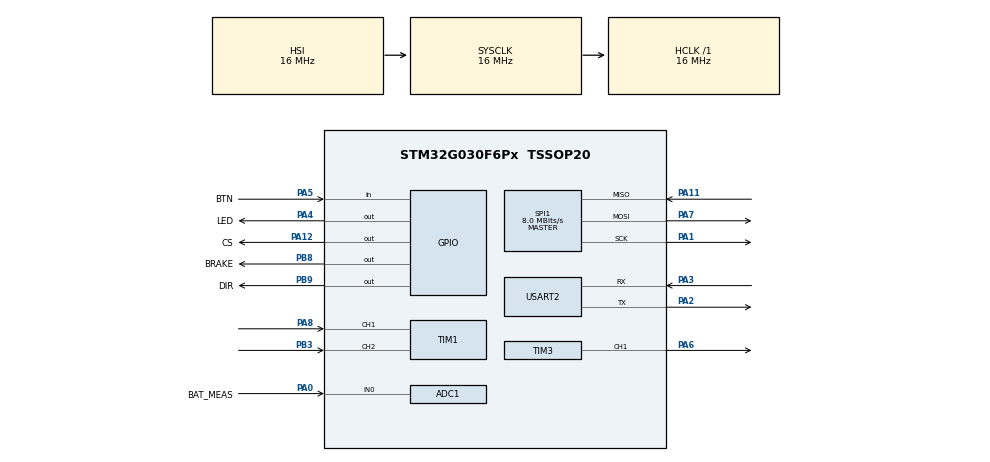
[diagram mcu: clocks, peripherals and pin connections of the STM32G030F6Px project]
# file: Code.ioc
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ADC1.Channel-1\#ChannelRegularConversion=ADC_CHANNEL_0
ADC1.DiscontinuousConvMode=ENABLE
ADC1.NbrOfConversionFlag=1
ADC1.Rank-1\#ChannelRegularConversion=1
ADC1.SamplingTime-1\#ChannelRegularConversion=ADC_SAMPLINGTIME_COMMON_1
ADC1.SelectedChannel=ADC_CHANNEL_0
ADC1.master=1
Mcu.Family=STM32G0
Mcu.Name=STM32G030F6Px
Mcu.Package=TSSOP20
PA0.GPIO_Label=BAT_MEAS
PA0.Mode=IN0
PA0.Signal=ADC1_IN0
PA1.Mode=Full_Duplex_Master
PA1.Signal=SPI1_SCK
PA11\ [PA9].Mode=Full_Duplex_Master
PA11\ [PA9].Signal=SPI1_MISO
PA12\ [PA10].GPIO_Label=CS
PA12\ [PA10].Signal=GPIO_Output
PA13.Mode=Serial_Wire
PA13.Signal=SYS_SWDIO
PA14-BOOT0.Mode=Serial_Wire
PA14-BOOT0.Signal=SYS_SWCLK
PA2.Mode=Asynchronous
PA2.Signal=USART2_TX
PA3.Mode=Asynchronous
PA3.Signal=USART2_RX
PA4.GPIO_Label=LED
PA4.Signal=GPIO_Output
PA5.GPIO_Label=BTN
PA5.Signal=GPIO_Input
PA6.Signal=S_TIM3_CH1
PA7.Mode=Full_Duplex_Master
PA7.Signal=SPI1_MOSI
PA8.Signal=S_TIM1_CH1
PB3.Signal=S_TIM1_CH2
PB8.GPIO_Label=BRAKE
PB8.Signal=GPIO_Output
PB9.GPIO_Label=DIR
PB9.Signal=GPIO_Output
ProjectManager.HeapSize=0x200
ProjectManager.StackSize=0x400
ProjectManager.TargetToolchain=STM32CubeIDE
RCC.AHBFreq_Value=16000000
RCC.CortexFreq_Value=16000000
RCC.EXTERNAL_CLOCK_VALUE=12288000
RCC.HCLKFreq_Value=16000000
RCC.HSE_VALUE=8000000
RCC.HSI_VALUE=16000000
RCC.LSE_VALUE=32768
RCC.SYSCLKFreq_VALUE=16000000
RCC.VCOOutputFreq_Value=128000000
SH.S_TIM1_CH1.0=TIM1_CH1,Encoder_Interface
SH.S_TIM1_CH2.0=TIM1_CH2,Encoder_Interface
SH.S_TIM3_CH1.0=TIM3_CH1,PWM Generation1 CH1
SPI1.BaudRatePrescaler=SPI_BAUDRATEPRESCALER_2
SPI1.CalculateBaudRate=8.0 MBits/s
SPI1.Direction=SPI_DIRECTION_2LINES
SPI1.Mode=SPI_MODE_MASTER
SPI1.VirtualType=VM_MASTER
TIM3.Channel-PWM\ Generation1\ CH1=TIM_CHANNEL_1
TIM3.Period=100-1
TIM3.Prescaler=8-1
USART2.VirtualMode-Asynchronous=VM_ASYNC
board=custom

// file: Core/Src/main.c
/* USER CODE BEGIN Header */
/**
  ******************************************************************************
  * @file           : main.c
  * @brief          : Main program body
  ******************************************************************************
  * @attention
  *
  * Copyright (c) 2022 STMicroelectronics.
  * All rights reserved.
  *
  * This software is licensed under terms that can be found in the LICENSE file
  * in the root directory of this software component.
  * If no LICENSE file comes with this software, it is provided AS-IS.
  *
  ******************************************************************************
  */
/* USER CODE END Header */
#include "main.h"

/* USER CODE BEGIN Includes */
#include <stdio.h>
#include "fixmath.h"
//#include <math.h>
/* USER CODE END Includes */

ADC_HandleTypeDef hadc1;

SPI_HandleTypeDef hspi1;

TIM_HandleTypeDef htim1;
TIM_HandleTypeDef htim3;

UART_HandleTypeDef huart2;

void SystemClock_Config(void);
static void MX_GPIO_Init(void);
static void MX_TIM1_Init(void);
static void MX_TIM3_Init(void);
static void MX_USART2_UART_Init(void);
static void MX_ADC1_Init(void);
static void MX_SPI1_Init(void);

/* USER CODE BEGIN 0 */
int _write(int file, char *ptr, int len)
{
	HAL_UART_Transmit(&huart2, (uint8_t*)ptr, len, HAL_MAX_DELAY);
	return len;
}

void resetICM()
{
	uint8_t tx[2] = {W | DEVICE_CONFIG, 0x01};
	HAL_GPIO_WritePin (CS_GPIO_Port, CS_Pin, GPIO_PIN_RESET);
	HAL_SPI_Transmit(&hspi1, tx, 2, 1000);
	HAL_GPIO_WritePin (CS_GPIO_Port, CS_Pin, GPIO_PIN_SET);
	HAL_Delay(1);
}

void spiSet(uint8_t addr, uint8_t val)
{
	uint8_t tx[2] = {0};
	tx[0] = W | addr;
	tx[1] = val;
	HAL_GPIO_WritePin (CS_GPIO_Port, CS_Pin, GPIO_PIN_RESET);
	HAL_SPI_Transmit(&hspi1, tx, 2, SPI_WAIT);
	HAL_GPIO_WritePin (CS_GPIO_Port, CS_Pin, GPIO_PIN_SET);
}

void spiGet(uint8_t addr, uint8_t* rx, uint8_t num)
{
	uint8_t tx = R | addr;
	HAL_GPIO_WritePin (CS_GPIO_Port, CS_Pin, GPIO_PIN_RESET);
	HAL_SPI_Transmit(&hspi1, &tx, 1, SPI_WAIT);
	HAL_SPI_Receive(&hspi1, rx, num, SPI_WAIT);
	HAL_GPIO_WritePin (CS_GPIO_Port, CS_Pin, GPIO_PIN_SET);
}

void printf16(fix16_t num, int decimals){
	decimals = decimals > 5 ? 5 : decimals;
	char str[14] = {'0'};
	fix16_to_str(num, str, decimals);
	printf("%s", str);
}

void pn(){
	printf("\r\n");
}

void ps(){
	printf(" ");
}

void pc(){
	printf(", ");
}

void brakeOn() {
	HAL_GPIO_WritePin(BRAKE_GPIO_Port, BRAKE_Pin, GPIO_PIN_RESET);
	return;
}

void brakeOff() {
	HAL_GPIO_WritePin(BRAKE_GPIO_Port, BRAKE_Pin, GPIO_PIN_SET);
	return;
}

void waitUntilStop(){
	TIM3->CCR1 = 100;
	brakeOn();
	int val1 = 0;
	int val2 = 1;
	while (val1 != val2){
		val1 = TIM1->CNT;
		HAL_Delay (10);
		val2 = TIM1->CNT;
	}
	brakeOff();
}

fix16_t getBatteryVoltage() {
	HAL_ADC_Start(&hadc1);
	uint32_t raw;
	fix16_t voltage;
	HAL_ADC_PollForConversion(&hadc1, 1000);
	raw = HAL_ADC_GetValue(&hadc1);
	voltage = fix16_mul(fix16_from_int(raw), fix16_from_float(3.3/4095*0.9647)); // Vdd / 2^16 * fudgeFactor
	voltage = fix16_mul(voltage, fix16_from_float(11.07)); // resistor ratio
	voltage = fix16_sub(voltage, fix16_from_float(0.1)); // more fudge factor
	HAL_ADC_Stop(&hadc1);
	return voltage;
}

fix16_t rad2deg(fix16_t num){
	num = fix16_mul(num, fix16_from_int(180));
	num = fix16_div(num, fix16_pi);
	return num;
}

//returns 1 if the number is negative, 0 if positive or 0
int32_t sign(int32_t num){
	return (num < 0);
}
/* USER CODE END 0 */

int main(void)
{

  /* MCU Configuration--------------------------------------------------------*/

  /* Reset of all peripherals, Initializes the Flash interface and the Systick. */
  HAL_Init();

  /* Configure the system clock */
  SystemClock_Config();

  /* Initialize all configured peripherals */
  MX_GPIO_Init();
  MX_TIM1_Init();
  MX_TIM3_Init();
  MX_USART2_UART_Init();
  MX_ADC1_Init();
  MX_SPI1_Init();
  /* USER CODE BEGIN 2 */

  //Start timers and ADC
  HAL_TIM_PWM_Start(&htim3, TIM_CHANNEL_1);
  HAL_TIM_Encoder_Start(&htim1, TIM_CHANNEL_ALL);

  uint8_t rx[6] = { 0 };
  resetICM();
  spiSet(ACCEL_CONFIG0, 0x06);
  spiSet(GYRO_CONFIG0, 0b00100110);
  spiSet(PWR_MGMT0, 0x0F);
  HAL_Delay(45);

  printf("start\r\n");
  pn();

  //variable definitions
  int16_t pos1 = 0, pos2 = 0, diff = 0;
  fix16_t angle = 0, prevAngle = 0, gyrAngle = 0, accAngle = 0;
  uint32_t start = 0, end = 0;
  uint8_t dir = 1;
  uint32_t pulse = TIM3->CCR1;
  int32_t control = 0, controlSignal = 0;
  int16_t a_i[3] = {0};
  fix16_t a_f[3] = {0};
  int16_t g_i[3] = {0};
  fix16_t g_f[3] = {0};
  fix16_t error = 0, errorInt = 0, errorDiff = 0;
  fix16_t velocity = 0;
  fix16_t controlVelocity = 0;
//  fix16_t velocityError = 0, velocityErrorInt = 0, velocityErrorDiff = 0;
//  fix16_t prevVelocityError = 0;
  uint8_t firstRun = 1;
  fix16_t angleControl, velocityControl = 0;
  fix16_t voltage = 0;

  const uint32_t dt = 10; //milliseconds
  const fix16_t dt_f = fix16_div(fix16_from_int(dt), fix16_from_int(1000)); //seconds
  const fix16_t tau = fix16_from_int(1);
  const fix16_t alpha = fix16_div(tau, fix16_add(tau, dt_f));
  const fix16_t accFactor = fix16_div(fix16_from_int(16), fix16_from_int(32768));
  const fix16_t gyrFactor = fix16_div(fix16_from_int(1000), fix16_from_int(32768));
  const fix16_t Kp = fix16_from_float(35.00);
  const fix16_t Ki = fix16_from_float(1.00);
  const fix16_t Kd = fix16_from_float(350);
//  const fix16_t Kp_s = fix16_from_float(0.00);
//  const fix16_t Ki_s = fix16_from_float(0.00);
//  const fix16_t Kd_s = fix16_from_float(0.00);

  HAL_GPIO_WritePin(LED_GPIO_Port, LED_Pin, GPIO_PIN_RESET);
  HAL_GPIO_WritePin(DIR_GPIO_Port, DIR_Pin, GPIO_PIN_SET);
  waitUntilStop();
  TIM3->CCR1 = 100;

  voltage = getBatteryVoltage();
  printf("Voltage: ");
  printf16(voltage,2);
  pn();

  if(voltage < fix16_from_float(8.5)) {
	  HAL_GPIO_WritePin(LED_GPIO_Port, LED_Pin, GPIO_PIN_SET);
  }

  spiGet(WHO_AM_I, rx, 1);
  printf("WHO_AM_I: %d\r\n", rx[0]);

  HAL_Delay(1000);
  /* USER CODE END 2 */

  /* Infinite loop */
  while (1)
  {

    /* USER CODE BEGIN 3 */
	  start = HAL_GetTick();

	  pos1 = pos2;
	  pos2 = TIM1 -> CNT;
	  diff = pos2 - pos1;
	  if (diff < 0) diff += 65536;

	  spiGet(ACCEL_DATA_X1, rx, 6);

	  a_i[0] = (rx[0] << 8) | rx[1];
	  a_i[1] = (rx[2] << 8) | rx[3];
	  a_i[2] = (rx[4] << 8) | rx[5];

	  a_f[0] = fix16_mul(fix16_from_int(a_i[0]), accFactor);
	  a_f[1] = fix16_mul(fix16_from_int(a_i[1]), accFactor);
	  a_f[2] = fix16_mul(fix16_from_int(a_i[2]), accFactor);

	  spiGet(GYRO_DATA_X1, rx, 6);

	  g_i[0] = (rx[0] << 8) | rx[1];
	  g_i[1] = (rx[2] << 8) | rx[3];
	  g_i[2] = (rx[4] << 8) | rx[5];

	  g_f[0] = fix16_mul(fix16_from_int(g_i[0]), gyrFactor);
	  g_f[1] = fix16_mul(fix16_from_int(g_i[1]), gyrFactor);
	  g_f[2] = fix16_mul(fix16_from_int(g_i[2]), gyrFactor);

	  prevAngle = angle;
	  accAngle = fix16_atan2(-a_f[0], -a_f[1]);
	  accAngle = rad2deg(accAngle);
	  accAngle = fix16_sub(accAngle, fix16_from_float(0.60));

	  if (firstRun){
		  gyrAngle = accAngle;
		  angle = accAngle;
	  }

	  gyrAngle = fix16_add(angle, fix16_mul(-g_f[2], dt_f));

	  angle = fix16_add(fix16_mul(alpha, gyrAngle), fix16_mul(fix16_sub(fix16_one, alpha), accAngle));

	  error = angle;
	  errorDiff = fix16_sub(angle, prevAngle);
	  errorInt += error;
	  prevAngle = angle;

	  velocity = fix16_div(fix16_from_int(diff), fix16_from_int(200)); //number of rotations covered in dt
	  velocity = fix16_div(velocity, dt_f); //divide by dt to get rotations per second

//	  velocityError = velocity;
//	  velocityErrorDiff = fix16_sub(velocityError, prevVelocityError);
//	  velocityErrorInt += velocityError;
//	  prevVelocityError = velocityError;
	  velocityControl = 0;

	  angleControl = fix16_add(fix16_add(fix16_mul(Kp, error), fix16_mul(Ki, errorInt)), fix16_mul(Kd, errorDiff));
	  //velocityControl = fix16_add(fix16_add(fix16_mul(Kp_s, velocityError), fix16_mul(Ki_s, velocityErrorInt)), fix16_mul(Kd_s, velocityErrorDiff));

	  control = fix16_add(angleControl, velocityControl);

	  //The value to control to between -100 and 100 as a result of the pid
	  control = MAX(MIN(control, fix16_from_int(100)), fix16_from_int(-100));

	  //The expected velocity to control to
	  controlVelocity = fix16_mul(control, fix16_from_float(100 / 36.0));

	  //The signal value to send to the motor
	  controlSignal = fix16_to_int(control);
	  //Instead set the control signal to be the difference between the current speed and expected speed

	  if (fix16_sub(fix16_abs(controlVelocity), fix16_abs(velocity)) > 0 && ((sign(controlSignal) == sign(velocity)) || (fix16_abs(velocity) < fix16_from_int(20)))) {
		  pulse = 100 - (controlSignal * (1-2*(controlSignal<0)));
		  brakeOff();
	  } else {
		  pulse = 100;
		  brakeOn();
	  }

	  if (fix16_abs(velocity) < fix16_from_int(20)) {
		  dir = !sign(controlSignal);
		  HAL_GPIO_WritePin(DIR_GPIO_Port, DIR_Pin, dir);
	  }

	  if (fix16_abs(angle) > fix16_from_int(25)) {
		  pulse = 100;
		  errorInt = 0;
	  }

	  TIM3->CCR1 = pulse;

//	  printf("%d %d %d ", control, pulse, controlSignal);
//	  printf16(speed,2);
//	  ps();
//	  printf16(controlSpeed, 2);
//	  pn();

	  //TIM3->CCR1 = 80;
	  printf("%d, ", HAL_GetTick());
	  printf16(angle, 2);
	  pc();
	  printf16(velocity, 2);
	  pc();
	  printf16(control, 2);
	  pn();

	  end = HAL_GetTick();
	  while (end-start < dt){
		  HAL_Delay(0);
		  end = HAL_GetTick();
	  }

	  firstRun = 0;

  }
  /* USER CODE END 3 */
}

void SystemClock_Config(void)
{
  RCC_OscInitTypeDef RCC_OscInitStruct = {0};
  RCC_ClkInitTypeDef RCC_ClkInitStruct = {0};

  /** Configure the main internal regulator output voltage
  */
  HAL_PWREx_ControlVoltageScaling(PWR_REGULATOR_VOLTAGE_SCALE1);
  /** Initializes the RCC Oscillators according to the specified parameters
  * in the RCC_OscInitTypeDef structure.
  */
  RCC_OscInitStruct.OscillatorType = RCC_OSCILLATORTYPE_HSI;
  RCC_OscInitStruct.HSIState = RCC_HSI_ON;
  RCC_OscInitStruct.HSIDiv = RCC_HSI_DIV1;
  RCC_OscInitStruct.HSICalibrationValue = RCC_HSICALIBRATION_DEFAULT;
  RCC_OscInitStruct.PLL.PLLState = RCC_PLL_NONE;
  if (HAL_RCC_OscConfig(&RCC_OscInitStruct) != HAL_OK)
  {
    Error_Handler();
  }
  /** Initializes the CPU, AHB and APB buses clocks
  */
  RCC_ClkInitStruct.ClockType = RCC_CLOCKTYPE_HCLK|RCC_CLOCKTYPE_SYSCLK
                              |RCC_CLOCKTYPE_PCLK1;
  RCC_ClkInitStruct.SYSCLKSource = RCC_SYSCLKSOURCE_HSI;
  RCC_ClkInitStruct.AHBCLKDivider = RCC_SYSCLK_DIV1;
  RCC_ClkInitStruct.APB1CLKDivider = RCC_HCLK_DIV1;

  if (HAL_RCC_ClockConfig(&RCC_ClkInitStruct, FLASH_LATENCY_0) != HAL_OK)
  {
    Error_Handler();
  }
}

static void MX_ADC1_Init(void)
{

  ADC_ChannelConfTypeDef sConfig = {0};

  /** Configure the global features of the ADC (Clock, Resolution, Data Alignment and number of conversion)
  */
  hadc1.Instance = ADC1;
  hadc1.Init.ClockPrescaler = ADC_CLOCK_SYNC_PCLK_DIV2;
  hadc1.Init.Resolution = ADC_RESOLUTION_12B;
  hadc1.Init.DataAlign = ADC_DATAALIGN_RIGHT;
  hadc1.Init.ScanConvMode = ADC_SCAN_DISABLE;
  hadc1.Init.EOCSelection = ADC_EOC_SINGLE_CONV;
  hadc1.Init.LowPowerAutoWait = DISABLE;
  hadc1.Init.LowPowerAutoPowerOff = DISABLE;
  hadc1.Init.ContinuousConvMode = DISABLE;
  hadc1.Init.NbrOfConversion = 1;
  hadc1.Init.DiscontinuousConvMode = ENABLE;
  hadc1.Init.ExternalTrigConv = ADC_SOFTWARE_START;
  hadc1.Init.ExternalTrigConvEdge = ADC_EXTERNALTRIGCONVEDGE_NONE;
  hadc1.Init.DMAContinuousRequests = DISABLE;
  hadc1.Init.Overrun = ADC_OVR_DATA_PRESERVED;
  hadc1.Init.SamplingTimeCommon1 = ADC_SAMPLETIME_1CYCLE_5;
  hadc1.Init.SamplingTimeCommon2 = ADC_SAMPLETIME_1CYCLE_5;
  hadc1.Init.OversamplingMode = DISABLE;
  hadc1.Init.TriggerFrequencyMode = ADC_TRIGGER_FREQ_HIGH;
  if (HAL_ADC_Init(&hadc1) != HAL_OK)
  {
    Error_Handler();
  }
  /** Configure Regular Channel
  */
  sConfig.Channel = ADC_CHANNEL_0;
  sConfig.Rank = ADC_REGULAR_RANK_1;
  sConfig.SamplingTime = ADC_SAMPLINGTIME_COMMON_1;
  if (HAL_ADC_ConfigChannel(&hadc1, &sConfig) != HAL_OK)
  {
    Error_Handler();
  }

}

static void MX_SPI1_Init(void)
{

  /* SPI1 parameter configuration*/
  hspi1.Instance = SPI1;
  hspi1.Init.Mode = SPI_MODE_MASTER;
  hspi1.Init.Direction = SPI_DIRECTION_2LINES;
  hspi1.Init.DataSize = SPI_DATASIZE_8BIT;
  hspi1.Init.CLKPolarity = SPI_POLARITY_LOW;
  hspi1.Init.CLKPhase = SPI_PHASE_1EDGE;
  hspi1.Init.NSS = SPI_NSS_SOFT;
  hspi1.Init.BaudRatePrescaler = SPI_BAUDRATEPRESCALER_2;
  hspi1.Init.FirstBit = SPI_FIRSTBIT_MSB;
  hspi1.Init.TIMode = SPI_TIMODE_DISABLE;
  hspi1.Init.CRCCalculation = SPI_CRCCALCULATION_DISABLE;
  hspi1.Init.CRCPolynomial = 7;
  hspi1.Init.CRCLength = SPI_CRC_LENGTH_DATASIZE;
  hspi1.Init.NSSPMode = SPI_NSS_PULSE_ENABLE;
  if (HAL_SPI_Init(&hspi1) != HAL_OK)
  {
    Error_Handler();
  }

}

static void MX_TIM1_Init(void)
{

  TIM_Encoder_InitTypeDef sConfig = {0};
  TIM_MasterConfigTypeDef sMasterConfig = {0};

  htim1.Instance = TIM1;
  htim1.Init.Prescaler = 0;
  htim1.Init.CounterMode = TIM_COUNTERMODE_UP;
  htim1.Init.Period = 65535;
  htim1.Init.ClockDivision = TIM_CLOCKDIVISION_DIV1;
  htim1.Init.RepetitionCounter = 0;
  htim1.Init.AutoReloadPreload = TIM_AUTORELOAD_PRELOAD_DISABLE;
  sConfig.EncoderMode = TIM_ENCODERMODE_TI1;
  sConfig.IC1Polarity = TIM_ICPOLARITY_RISING;
  sConfig.IC1Selection = TIM_ICSELECTION_DIRECTTI;
  sConfig.IC1Prescaler = TIM_ICPSC_DIV1;
  sConfig.IC1Filter = 0;
  sConfig.IC2Polarity = TIM_ICPOLARITY_RISING;
  sConfig.IC2Selection = TIM_ICSELECTION_DIRECTTI;
  sConfig.IC2Prescaler = TIM_ICPSC_DIV1;
  sConfig.IC2Filter = 0;
  if (HAL_TIM_Encoder_Init(&htim1, &sConfig) != HAL_OK)
  {
    Error_Handler();
  }
  sMasterConfig.MasterOutputTrigger = TIM_TRGO_RESET;
  sMasterConfig.MasterOutputTrigger2 = TIM_TRGO2_RESET;
  sMasterConfig.MasterSlaveMode = TIM_MASTERSLAVEMODE_DISABLE;
  if (HAL_TIMEx_MasterConfigSynchronization(&htim1, &sMasterConfig) != HAL_OK)
  {
    Error_Handler();
  }

}

static void MX_TIM3_Init(void)
{

  TIM_MasterConfigTypeDef sMasterConfig = {0};
  TIM_OC_InitTypeDef sConfigOC = {0};

  htim3.Instance = TIM3;
  htim3.Init.Prescaler = 8-1;
  htim3.Init.CounterMode = TIM_COUNTERMODE_UP;
  htim3.Init.Period = 100-1;
  htim3.Init.ClockDivision = TIM_CLOCKDIVISION_DIV1;
  htim3.Init.AutoReloadPreload = TIM_AUTORELOAD_PRELOAD_DISABLE;
  if (HAL_TIM_PWM_Init(&htim3) != HAL_OK)
  {
    Error_Handler();
  }
  sMasterConfig.MasterOutputTrigger = TIM_TRGO_RESET;
  sMasterConfig.MasterSlaveMode = TIM_MASTERSLAVEMODE_DISABLE;
  if (HAL_TIMEx_MasterConfigSynchronization(&htim3, &sMasterConfig) != HAL_OK)
  {
    Error_Handler();
  }
  sConfigOC.OCMode = TIM_OCMODE_PWM1;
  sConfigOC.Pulse = 0;
  sConfigOC.OCPolarity = TIM_OCPOLARITY_HIGH;
  sConfigOC.OCFastMode = TIM_OCFAST_DISABLE;
  if (HAL_TIM_PWM_ConfigChannel(&htim3, &sConfigOC, TIM_CHANNEL_1) != HAL_OK)
  {
    Error_Handler();
  }
  HAL_TIM_MspPostInit(&htim3);

}

static void MX_USART2_UART_Init(void)
{

  huart2.Instance = USART2;
  huart2.Init.BaudRate = 115200;
  huart2.Init.WordLength = UART_WORDLENGTH_8B;
  huart2.Init.StopBits = UART_STOPBITS_1;
  huart2.Init.Parity = UART_PARITY_NONE;
  huart2.Init.Mode = UART_MODE_TX_RX;
  huart2.Init.HwFlowCtl = UART_HWCONTROL_NONE;
  huart2.Init.OverSampling = UART_OVERSAMPLING_16;
  huart2.Init.OneBitSampling = UART_ONE_BIT_SAMPLE_DISABLE;
  huart2.Init.ClockPrescaler = UART_PRESCALER_DIV1;
  huart2.AdvancedInit.AdvFeatureInit = UART_ADVFEATURE_NO_INIT;
  if (HAL_UART_Init(&huart2) != HAL_OK)
  {
    Error_Handler();
  }

}

static void MX_GPIO_Init(void)
{
  GPIO_InitTypeDef GPIO_InitStruct = {0};

  /* GPIO Ports Clock Enable */
  __HAL_RCC_GPIOB_CLK_ENABLE();
  __HAL_RCC_GPIOA_CLK_ENABLE();

  /*Configure GPIO pin Output Level */
  HAL_GPIO_WritePin(GPIOB, BRAKE_Pin|DIR_Pin, GPIO_PIN_RESET);

  /*Configure GPIO pin Output Level */
  HAL_GPIO_WritePin(GPIOA, LED_Pin|CS_Pin, GPIO_PIN_RESET);

  /*Configure GPIO pins : BRAKE_Pin DIR_Pin */
  GPIO_InitStruct.Pin = BRAKE_Pin|DIR_Pin;
  GPIO_InitStruct.Mode = GPIO_MODE_OUTPUT_PP;
  GPIO_InitStruct.Pull = GPIO_NOPULL;
  GPIO_InitStruct.Speed = GPIO_SPEED_FREQ_LOW;
  HAL_GPIO_Init(GPIOB, &GPIO_InitStruct);

  /*Configure GPIO pins : LED_Pin CS_Pin */
  GPIO_InitStruct.Pin = LED_Pin|CS_Pin;
  GPIO_InitStruct.Mode = GPIO_MODE_OUTPUT_PP;
  GPIO_InitStruct.Pull = GPIO_NOPULL;
  GPIO_InitStruct.Speed = GPIO_SPEED_FREQ_LOW;
  HAL_GPIO_Init(GPIOA, &GPIO_InitStruct);

  /*Configure GPIO pin : BTN_Pin */
  GPIO_InitStruct.Pin = BTN_Pin;
  GPIO_InitStruct.Mode = GPIO_MODE_INPUT;
  GPIO_InitStruct.Pull = GPIO_NOPULL;
  HAL_GPIO_Init(BTN_GPIO_Port, &GPIO_InitStruct);

}

void Error_Handler(void)
{
  __disable_irq();
  while (1)
  {
  }
}
